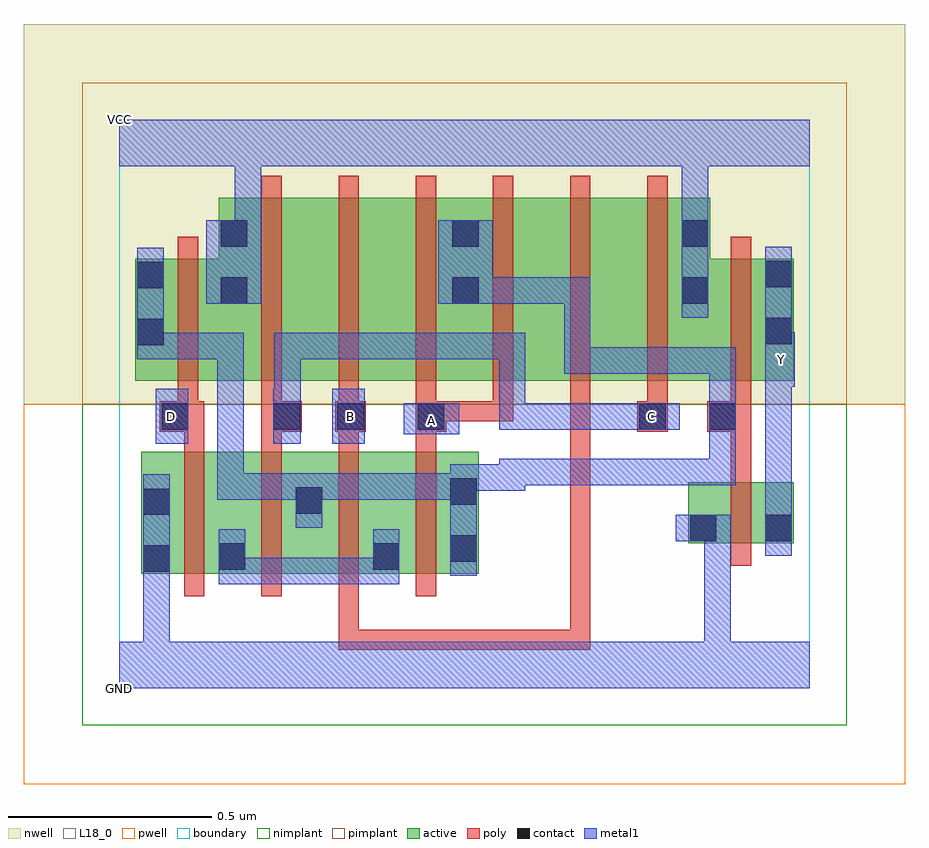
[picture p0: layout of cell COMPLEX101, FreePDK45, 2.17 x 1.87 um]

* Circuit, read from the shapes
.subckt COMPLEX101 A B C D GND VCC Y
M1 n1 D GND VSUBS nfet w=0.3u l=0.05u
M2 n2 C n1 VSUBS nfet w=0.3u l=0.05u
M3 n1 B n2 VSUBS nfet w=0.3u l=0.05u
M4 n2 A n1 VSUBS nfet w=0.3u l=0.05u
M5 Y n2 GND VSUBS nfet w=0.15u l=0.05u
M6 VCC D n2 n3 pfet w=0.3u l=0.05u
M7 n4 C VCC n3 pfet w=0.45u l=0.05u
M8 n5 B n4 n3 pfet w=0.45u l=0.05u
M9 n2 A n5 n3 pfet w=0.45u l=0.05u
M10 n6 A n2 n3 pfet w=0.45u l=0.05u
M11 n7 B n6 n3 pfet w=0.45u l=0.05u
M12 VCC C n7 n3 pfet w=0.45u l=0.05u
M13 Y n2 VCC n3 pfet w=0.3u l=0.05u
.ends

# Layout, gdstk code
import gdstk
lib = gdstk.Library(unit=1e-6, precision=1e-09)
def R(c, l, rs):  # rectangles x0, y0, x1, y1
    for r in rs: c.add(gdstk.rectangle(r[:2], r[2:], *l))
def A(c, l, x, y, w, h, nx, ny, dx, dy):  # array of equal rectangles
    R(c, l, [(x+i*dx, y+j*dy, x+i*dx+w, y+j*dy+h) for i in range(nx) for j in range(ny)])
active = (1, 0)
pwell = (2, 0)
nwell = (3, 0)
nimplant = (4, 0)
pimplant = (5, 0)
poly = (9, 0)
contact = (10, 0)
metal1 = (11, 0)
L18_0 = (18, 0)
boundary = (235, 0)

complex101 = lib.new_cell('COMPLEX101')
A(complex101, active, 0.24, 0.282, 0.265, 0.3, 3, 1, 0.19, 0)
R(complex101, active, [(0.055,0.282,0.13,0.582), (0.055,0.282,0.315,0.582), (0.81,0.282,0.885,0.582), (0.24,0.287,0.315,0.392), (0.62,0.287,0.695,0.437), (0.43,0.33,0.505,0.5), (1.4,0.357,1.475,0.507), (1.4,0.357,1.66,0.507), (1.585,0.357,1.66,0.507), (0.04,0.757,0.115,1.057), (0.04,0.757,0.32,1.057), (0.245,0.757,0.32,1.157), (0.245,0.757,0.47,1.207), (0.47,0.757,0.66,1.207), (0.66,0.757,0.89,1.207), (0.815,0.757,1.04,1.207), (1.04,0.757,1.23,1.207), (1.23,0.757,1.455,1.207), (1.38,0.757,1.66,1.057), (1.38,0.757,1.455,1.157), (1.585,0.757,1.66,1.057), (0.815,0.827,0.89,1.2)])
R(complex101, pwell, [(-0.235,-0.235,1.935,0.7)])
R(complex101, nwell, [(-0.235,0.7,1.935,1.635)])
R(complex101, nimplant, [(-0.09,-0.09,1.79,0.7)])
R(complex101, pimplant, [(-0.09,0.7,1.79,1.49)])
A(complex101, poly, 0.16, 0.227, 0.05, 0.41, 4, 1, 0.19, 0)
A(complex101, poly, 0.16, 0.587, 0.05, 0.095, 4, 1, 0.19, 0)
A(complex101, poly, 0.35, 0.657, 0.05, 0.095, 4, 1, 0.19, 0)
A(complex101, poly, 0.35, 0.702, 0.05, 0.56, 6, 1, 0.19, 0)
R(complex101, poly, [(0.54,0.095,0.59,0.145), (0.54,0.095,0.59,0.145), (0.54,0.095,0.59,0.145), (0.54,0.095,0.722,0.145), (0.54,0.095,0.59,0.277), (0.672,0.095,0.722,0.145), (0.672,0.095,1.027,0.145), (0.977,0.095,1.027,0.145), (0.977,0.095,1.027,0.145), (0.977,0.095,1.027,0.145), (0.977,0.095,1.16,0.145), (1.11,0.095,1.16,0.752), (1.11,0.095,1.16,0.145), (1.11,0.095,1.16,0.145), (1.11,0.095,1.16,0.145), (1.11,0.095,1.16,0.145), (1.11,0.095,1.16,0.145), (1.11,0.095,1.16,0.145), (1.11,0.095,1.16,0.145), (1.11,0.095,1.16,0.145), (1.11,0.095,1.16,0.145), (1.11,0.095,1.16,0.145), (1.11,0.095,1.16,0.145), (1.505,0.302,1.555,0.562), (1.505,0.512,1.555,0.682), (0.1,0.632,0.21,0.707), (0.35,0.632,0.45,0.707), (0.532,0.632,0.607,0.707), (0.73,0.632,0.805,0.707), (1.275,0.632,1.35,0.707), (1.447,0.632,1.555,0.707), (0.145,0.657,0.195,0.752), (0.755,0.657,0.97,0.707), (0.92,0.657,0.97,0.707), (0.92,0.657,0.97,0.707), (0.92,0.657,0.97,0.707), (1.3,0.657,1.35,0.752), (1.505,0.657,1.555,0.752), (0.145,0.702,0.195,1.112), (1.505,0.702,1.555,1.112)])
R(complex101, contact, [(0.06,0.287,0.125,0.352), (0.245,0.292,0.31,0.357), (0.625,0.292,0.69,0.357), (0.815,0.312,0.88,0.377), (1.405,0.362,1.47,0.427), (1.59,0.362,1.655,0.427), (0.06,0.427,0.125,0.492), (0.435,0.43,0.5,0.495), (0.815,0.452,0.88,0.517), (0.105,0.637,0.17,0.702), (0.38,0.637,0.445,0.702), (0.537,0.637,0.602,0.702), (0.735,0.637,0.8,0.702), (1.28,0.637,1.345,0.702), (1.452,0.637,1.517,0.702), (0.045,0.845,0.11,0.91), (1.59,0.847,1.655,0.912), (0.25,0.947,0.315,1.012), (0.82,0.947,0.885,1.012), (1.385,0.947,1.45,1.012), (0.045,0.985,0.11,1.05), (1.59,0.987,1.655,1.052), (0.25,1.087,0.315,1.152), (0.82,1.087,0.885,1.152), (1.385,1.087,1.45,1.152)])
R(complex101, metal1, [(0,0,1.7,0.115), (0.06,0.05,0.125,0.115), (0.06,0.05,0.125,0.115), (0.06,0.05,0.125,0.115), (0.06,0.05,0.125,0.115), (0.06,0.05,0.125,0.317), (1.44,0.05,1.505,0.115), (1.44,0.05,1.505,0.115), (1.44,0.05,1.505,0.427), (0.06,0.252,0.125,0.527), (0.245,0.257,0.31,0.392), (0.245,0.257,0.452,0.322), (0.387,0.257,0.452,0.322), (0.387,0.257,0.452,0.322), (0.387,0.257,0.452,0.322), (0.387,0.257,0.59,0.322), (0.525,0.257,0.59,0.322), (0.525,0.257,0.69,0.322), (0.625,0.257,0.69,0.392), (0.815,0.277,0.88,0.552), (1.59,0.327,1.655,0.462), (1.37,0.362,1.505,0.427), (1.44,0.362,1.505,0.427), (1.44,0.362,1.505,0.427), (1.44,0.362,1.505,0.427), (1.44,0.362,1.505,0.427), (0.435,0.395,0.5,0.53), (1.59,0.397,1.655,0.807), (0.242,0.465,0.307,0.53), (0.242,0.465,0.307,0.875), (0.242,0.465,0.452,0.53), (0.387,0.465,0.452,0.53), (0.387,0.465,0.5,0.53), (0.435,0.465,0.627,0.53), (0.562,0.465,0.627,0.53), (0.562,0.465,0.69,0.53), (0.625,0.465,0.69,0.53), (0.625,0.465,0.862,0.53), (0.797,0.465,0.862,0.53), (0.797,0.465,0.88,0.53), (0.815,0.487,1,0.552), (0.935,0.487,1,0.565), (0.935,0.5,1.16,0.565), (1.095,0.5,1.16,0.565), (1.095,0.5,1.16,0.565), (1.095,0.5,1.16,0.565), (1.095,0.5,1.297,0.565), (1.232,0.5,1.297,0.565), (1.232,0.5,1.297,0.565), (1.232,0.5,1.297,0.565), (1.232,0.5,1.517,0.565), (1.452,0.5,1.517,0.565), (1.452,0.5,1.517,0.737), (0.09,0.602,0.17,0.737), (0.38,0.602,0.447,0.737), (0.525,0.602,0.605,0.737), (1.452,0.602,1.517,0.737), (0.7,0.625,0.837,0.702), (0.935,0.637,1,0.702), (0.935,0.637,1,0.702), (0.935,0.637,1,0.702), (0.935,0.637,1.137,0.702), (0.935,0.637,1,0.875), (1.072,0.637,1.137,0.702), (1.072,0.637,1.137,0.702), (1.072,0.637,1.137,0.702), (1.072,0.637,1.297,0.702), (1.232,0.637,1.297,0.702), (1.232,0.637,1.307,0.702), (1.242,0.637,1.38,0.702), (0.382,0.672,0.447,0.737), (0.382,0.672,0.447,0.737), (0.382,0.672,0.447,0.875), (1.452,0.672,1.517,0.737), (1.452,0.672,1.517,0.737), (1.452,0.672,1.517,0.84), (1.59,0.742,1.662,0.877), (1.095,0.775,1.16,0.84), (1.095,0.775,1.16,0.84), (1.095,0.775,1.16,0.84), (1.095,0.775,1.16,1.012), (1.095,0.775,1.297,0.84), (1.232,0.775,1.297,0.84), (1.232,0.775,1.297,0.84), (1.232,0.775,1.297,0.84), (1.232,0.775,1.517,0.84), (1.452,0.775,1.517,0.84), (0.045,0.81,0.11,0.875), (0.045,0.81,0.11,0.875), (0.045,0.81,0.11,1.085), (0.045,0.81,0.307,0.875), (0.242,0.81,0.307,0.875), (0.242,0.81,0.307,0.875), (0.242,0.81,0.307,0.875), (0.382,0.81,0.447,0.875), (0.382,0.81,0.627,0.875), (0.562,0.81,0.627,0.875), (0.562,0.81,0.637,0.875), (0.572,0.81,0.637,0.875), (0.572,0.81,0.862,0.875), (0.797,0.81,0.862,0.875), (0.797,0.81,1,0.875), (0.935,0.81,1,0.875), (1.59,0.812,1.655,0.877), (1.59,0.812,1.655,1.087), (1.385,0.912,1.45,1.187), (0.215,0.947,0.35,1.152), (0.785,0.947,0.92,1.152), (0.855,0.947,1,1.012), (0.935,0.947,1,1.012), (0.935,0.947,1.16,1.012), (1.095,0.947,1.16,1.012), (0.285,1.087,0.35,1.35), (1.385,1.122,1.45,1.35), (0,1.285,1.7,1.4)])
R(complex101, L18_0, [(0,0,1.7,0.115), (0.06,0.05,0.125,0.115), (0.06,0.05,0.125,0.115), (0.06,0.05,0.125,0.115), (0.06,0.05,0.125,0.115), (0.06,0.05,0.125,0.317), (1.44,0.05,1.505,0.115), (1.44,0.05,1.505,0.115), (1.44,0.05,1.505,0.427), (0.06,0.252,0.125,0.527), (1.59,0.327,1.655,0.462), (1.37,0.362,1.505,0.427), (1.44,0.362,1.505,0.427), (1.44,0.362,1.505,0.427), (1.44,0.362,1.505,0.427), (1.44,0.362,1.505,0.427), (1.59,0.397,1.655,0.807), (0.09,0.602,0.17,0.737), (0.38,0.602,0.447,0.737), (0.525,0.602,0.605,0.737), (0.7,0.625,0.837,0.702), (0.737,0.627,0.802,0.692), (0.097,0.637,0.162,0.702), (0.537,0.637,0.602,0.702), (0.935,0.637,1,0.702), (0.935,0.637,1,0.702), (0.935,0.637,1,0.702), (0.935,0.637,1,0.875), (0.935,0.637,1.137,0.702), (1.072,0.637,1.137,0.702), (1.072,0.637,1.137,0.702), (1.072,0.637,1.137,0.702), (1.072,0.637,1.297,0.702), (1.232,0.637,1.297,0.702), (1.232,0.637,1.307,0.702), (1.242,0.637,1.38,0.702), (1.277,0.637,1.342,0.702), (0.382,0.672,0.447,0.737), (0.382,0.672,0.447,0.737), (0.382,0.672,0.447,0.875), (1.59,0.742,1.662,0.877), (1.597,0.777,1.662,0.842), (0.382,0.81,0.447,0.875), (0.382,0.81,0.627,0.875), (0.562,0.81,0.627,0.875), (0.562,0.81,0.637,0.875), (0.572,0.81,0.637,0.875), (0.572,0.81,0.862,0.875), (0.797,0.81,0.862,0.875), (0.797,0.81,1,0.875), (0.935,0.81,1,0.875), (1.59,0.812,1.655,0.877), (1.59,0.812,1.655,1.087), (1.385,0.912,1.45,1.187), (0.215,0.947,0.35,1.152), (0.285,1.087,0.35,1.35), (1.385,1.122,1.45,1.35), (0,1.285,1.7,1.4)])
R(complex101, boundary, [(0,0,1.7,1.4)])
complex101.add(gdstk.Label('A', (0.77,0.66), layer=11, texttype=0))
complex101.add(gdstk.Label('B', (0.57,0.67), layer=11, texttype=0))
complex101.add(gdstk.Label('C', (1.31,0.67), layer=11, texttype=0))
complex101.add(gdstk.Label('D', (0.13,0.67), layer=11, texttype=0))
complex101.add(gdstk.Label('Y', (1.63,0.81), layer=11, texttype=0))
complex101.add(gdstk.Label('VCC', (0,1.4), layer=11, texttype=0))
complex101.add(gdstk.Label('GND', (0,0), layer=11, texttype=0))

lib.write_gds('COMPLEX101.gds')
